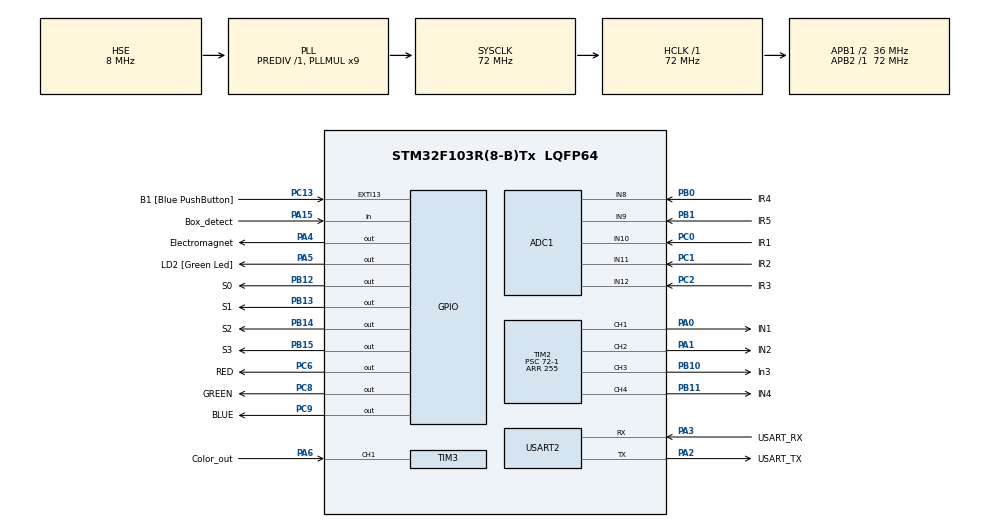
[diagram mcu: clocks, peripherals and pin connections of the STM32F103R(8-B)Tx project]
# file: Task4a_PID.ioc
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ADC1.Channel-0\#ChannelRegularConversion=ADC_CHANNEL_10
ADC1.Channel-1\#ChannelRegularConversion=ADC_CHANNEL_11
ADC1.Channel-2\#ChannelRegularConversion=ADC_CHANNEL_12
ADC1.Channel-3\#ChannelRegularConversion=ADC_CHANNEL_8
ADC1.Channel-4\#ChannelRegularConversion=ADC_CHANNEL_9
ADC1.ContinuousConvMode=ENABLE
ADC1.NbrOfConversion=5
ADC1.NbrOfConversionFlag=1
ADC1.Rank-0\#ChannelRegularConversion=1
ADC1.Rank-1\#ChannelRegularConversion=2
ADC1.Rank-2\#ChannelRegularConversion=3
ADC1.Rank-3\#ChannelRegularConversion=4
ADC1.Rank-4\#ChannelRegularConversion=5
ADC1.SamplingTime-0\#ChannelRegularConversion=ADC_SAMPLETIME_55CYCLES_5
ADC1.SamplingTime-1\#ChannelRegularConversion=ADC_SAMPLETIME_55CYCLES_5
ADC1.SamplingTime-2\#ChannelRegularConversion=ADC_SAMPLETIME_55CYCLES_5
ADC1.SamplingTime-3\#ChannelRegularConversion=ADC_SAMPLETIME_55CYCLES_5
ADC1.SamplingTime-4\#ChannelRegularConversion=ADC_SAMPLETIME_55CYCLES_5
ADC1.master=1
Dma.ADC1.0.Direction=DMA_PERIPH_TO_MEMORY
Dma.ADC1.0.Instance=DMA1_Channel1
Dma.ADC1.0.MemDataAlignment=DMA_MDATAALIGN_HALFWORD
Dma.ADC1.0.MemInc=DMA_MINC_ENABLE
Dma.ADC1.0.Mode=DMA_CIRCULAR
Dma.ADC1.0.PeriphDataAlignment=DMA_PDATAALIGN_HALFWORD
Dma.ADC1.0.PeriphInc=DMA_PINC_DISABLE
Dma.ADC1.0.Priority=DMA_PRIORITY_LOW
Dma.Request0=ADC1
Mcu.Family=STM32F1
Mcu.Name=STM32F103R(8-B)Tx
Mcu.Package=LQFP64
NVIC.ADC1_2_IRQn=true\:0\:0\:false\:false\:true\:true\:true\:true
NVIC.DMA1_Channel1_IRQn=true\:0\:0\:false\:false\:true\:false\:true\:true
NVIC.EXTI15_10_IRQn=true\:0\:0\:false\:false\:true\:true\:true\:true
NVIC.PriorityGroup=NVIC_PRIORITYGROUP_4
NVIC.TIM3_IRQn=true\:0\:0\:false\:false\:true\:true\:true\:true
PA0-WKUP.GPIO_Label=IN1
PA0-WKUP.Signal=S_TIM2_CH1_ETR
PA1.GPIO_Label=IN2
PA1.Signal=S_TIM2_CH2
PA13.GPIO_Label=TMS
PA13.Mode=Serial_Wire
PA13.Signal=SYS_JTMS-SWDIO
PA14.GPIO_Label=TCK
PA14.Mode=Serial_Wire
PA14.Signal=SYS_JTCK-SWCLK
PA15.GPIO_Label=Box_detect
PA15.Signal=GPIO_Input
PA2.GPIO_Label=USART_TX
PA2.GPIO_Mode=GPIO_MODE_AF_PP
PA2.GPIO_PuPd=GPIO_NOPULL
PA2.GPIO_Speed=GPIO_SPEED_FREQ_LOW
PA2.Mode=Asynchronous
PA2.Signal=USART2_TX
PA3.GPIO_Label=USART_RX
PA3.GPIO_Mode=GPIO_MODE_AF_PP
PA3.GPIO_PuPd=GPIO_NOPULL
PA3.GPIO_Speed=GPIO_SPEED_FREQ_LOW
PA3.Mode=Asynchronous
PA3.Signal=USART2_RX
PA4.GPIO_Label=Electromagnet
PA4.Signal=GPIO_Output
PA5.GPIO_Label=LD2 [Green Led]
PA5.GPIO_ModeDefaultOutputPP=GPIO_MODE_OUTPUT_PP
PA5.GPIO_PuPd=GPIO_NOPULL
PA5.GPIO_Speed=GPIO_SPEED_FREQ_LOW
PA5.Signal=GPIO_Output
PA6.GPIO_Label=Color_out
PA6.Signal=S_TIM3_CH1
PB0.GPIO_Label=IR4
PB0.Signal=ADCx_IN8
PB1.GPIO_Label=IR5
PB1.Signal=ADCx_IN9
PB10.GPIO_Label=In3
PB10.Signal=S_TIM2_CH3
PB11.GPIO_Label=IN4
PB11.Signal=S_TIM2_CH4
PB12.GPIO_Label=S0
PB12.Signal=GPIO_Output
PB13.GPIO_Label=S1
PB13.Signal=GPIO_Output
PB14.GPIO_Label=S2
PB14.Signal=GPIO_Output
PB15.GPIO_Label=S3
PB15.Signal=GPIO_Output
PB3.GPIO_Label=SWO
PB3.Signal=SYS_JTDO-TRACESWO
PC0.GPIO_Label=IR1
PC0.Signal=ADCx_IN10
PC1.GPIO_Label=IR2
PC1.Signal=ADCx_IN11
PC13-TAMPER-RTC.GPIO_Label=B1 [Blue PushButton]
PC13-TAMPER-RTC.GPIO_PuPd=GPIO_NOPULL
PC13-TAMPER-RTC.Signal=GPXTI13
PC14-OSC32_IN.Mode=LSE-External-Oscillator
PC14-OSC32_IN.Signal=RCC_OSC32_IN
PC15-OSC32_OUT.Mode=LSE-External-Oscillator
PC15-OSC32_OUT.Signal=RCC_OSC32_OUT
PC2.GPIO_Label=IR3
PC2.Signal=ADCx_IN12
PC6.GPIO_Label=RED
PC6.Signal=GPIO_Output
PC8.GPIO_Label=GREEN
PC8.Signal=GPIO_Output
PC9.GPIO_Label=BLUE
PC9.Signal=GPIO_Output
PD0-OSC_IN.Mode=HSE-External-Clock-Source
PD0-OSC_IN.Signal=RCC_OSC_IN
PD1-OSC_OUT.Mode=HSE-External-Clock-Source
PD1-OSC_OUT.Signal=RCC_OSC_OUT
ProjectManager.HeapSize=0x200
ProjectManager.StackSize=0x400
ProjectManager.TargetToolchain=STM32CubeIDE
RCC.ADCPresc=RCC_ADCPCLK2_DIV6
RCC.AHBFreq_Value=72000000
RCC.APB1CLKDivider=RCC_HCLK_DIV2
RCC.APB1Freq_Value=36000000
RCC.APB1TimFreq_Value=72000000
RCC.APB2Freq_Value=72000000
RCC.APB2TimFreq_Value=72000000
RCC.HCLKFreq_Value=72000000
RCC.PLLMUL=RCC_PLL_MUL9
RCC.PLLSourceVirtual=RCC_PLLSOURCE_HSE
RCC.RTCClockSelection=RCC_RTCCLKSOURCE_LSE
RCC.SYSCLKFreq_VALUE=72000000
RCC.SYSCLKSource=RCC_SYSCLKSOURCE_PLLCLK
RCC.USBFreq_Value=72000000
SH.ADCx_IN10.0=ADC1_IN10,IN10
SH.ADCx_IN11.0=ADC1_IN11,IN11
SH.ADCx_IN12.0=ADC1_IN12,IN12
SH.ADCx_IN8.0=ADC1_IN8,IN8
SH.ADCx_IN9.0=ADC1_IN9,IN9
SH.S_TIM2_CH1_ETR.0=TIM2_CH1,PWM Generation1 CH1
SH.S_TIM2_CH2.0=TIM2_CH2,PWM Generation2 CH2
SH.S_TIM2_CH3.0=TIM2_CH3,PWM Generation3 CH3
SH.S_TIM2_CH4.0=TIM2_CH4,PWM Generation4 CH4
SH.S_TIM3_CH1.0=TIM3_CH1,Input_Capture1_from_TI1
TIM2.Channel-PWM\ Generation1\ CH1=TIM_CHANNEL_1
TIM2.Channel-PWM\ Generation2\ CH2=TIM_CHANNEL_2
TIM2.Channel-PWM\ Generation3\ CH3=TIM_CHANNEL_3
TIM2.Channel-PWM\ Generation4\ CH4=TIM_CHANNEL_4
TIM2.Period=255
TIM2.Prescaler=72-1
TIM3.Channel-Input_Capture1_from_TI1=TIM_CHANNEL_1
USART2.VirtualMode=VM_ASYNC
board=NUCLEO-F103RB

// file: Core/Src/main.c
/* USER CODE BEGIN Header */
/**
  ******************************************************************************
  * @file           : main.c
  * @brief          : Main program body
  ******************************************************************************
  * @attention
  *
  * Copyright (c) 2025 STMicroelectronics.
  * All rights reserved.
  *
  * This software is licensed under terms that can be found in the LICENSE file
  * in the root directory of this software component.
  * If no LICENSE file comes with this software, it is provided AS-IS.
  *
  ******************************************************************************
  */
/* USER CODE END Header */
#include "main.h"

/* USER CODE BEGIN Includes */
#include "stdio.h"
#include "stdlib.h"
#include "math.h"
#include "stdbool.h"
#include "stdint.h"

/* USER CODE END Includes */

/* USER CODE BEGIN PD */
#define NUM_SENSORS        5
#define BASE_SPEED         60
#define TURN_SPEED         BASE_SPEED * 2.2
#define GAP_SPEED          60
#define MAX_PWM            150
#define MIN_ACTIVE_PWM     10
#define LEFT_TRIM   	   0.92f
#define RIGHT_TRIM 		   1.00f

#define MAX_CORRECTION     30.0f
#define CORNER_TH          0.7f
#define TURN_TIME_MS       140

#define LINE_LOST_ENTER    0.45f
#define LINE_LOST_EXIT     0.65f
#define PIVOT_POS_TH       0.65f

// color detect
#define LED_R_PORT GPIOC
#define LED_R_PIN  GPIO_PIN_6

#define LED_G_PORT GPIOC
#define LED_G_PIN  GPIO_PIN_8

#define LED_B_PORT GPIOC
#define LED_B_PIN  GPIO_PIN_9

// obstacle detection
#define IR_OUT_PORT GPIOA
#define IR_OUT_PIN  GPIO_PIN_15

// magnet
#define EM_PORT GPIOA
#define EM_PIN  GPIO_PIN_4

/* USER CODE END PD */

ADC_HandleTypeDef hadc1;
DMA_HandleTypeDef hdma_adc1;

TIM_HandleTypeDef htim2;
TIM_HandleTypeDef htim3;

UART_HandleTypeDef huart2;

/* USER CODE BEGIN PV */

/* helper function required */

typedef struct {
	float kp;
	float ki;
	float kd;
	float prev_error;
	float integral;
} PID_t;

typedef enum {
    MODE_TRACK,
    MODE_PIVOT,
    MODE_GAP,
	PICK_BOX,
	NODE_MODE
} ControlMode;

//static int slow_hold = 0;
volatile uint16_t adcBuffer[5];
char buffer[64];

float black[5];
float white[5];

// color detection
volatile uint32_t capture1 = 0, capture2 = 0;
volatile uint8_t  captureDone = 0;
volatile uint32_t frequency = 0;

typedef enum {
    COLOR_UNKNOWN,
    COLOR_RED,
    COLOR_GREEN,
    COLOR_BLUE
} DetectedColor;

static uint32_t led_last_tick = 0;
static uint8_t  led_on = 0;
static DetectedColor led_color = COLOR_UNKNOWN;

//static float prev_pos = 0.0f;
float speed_scale = 1.0f;
static float last_pos = 0.0f;
static bool in_gap = false;
static bool box_picked = false;

/* USER CODE END PV */

void SystemClock_Config(void);
static void MX_GPIO_Init(void);
static void MX_DMA_Init(void);
static void MX_USART2_UART_Init(void);
static void MX_ADC1_Init(void);
static void MX_TIM2_Init(void);
static void MX_TIM3_Init(void);

/* USER CODE BEGIN PFP */

// hardware control functions
void custom_control(int left,int right);

// helper functions
int clamp(int val,int min,int max);
float clampFloat(float v, float min, float max);
void pidInit(PID_t *pid,float kp,float ki,float kd);
void ir_state(const uint16_t *adc, uint8_t *state);
void readIR(uint16_t *dst);
void computeReflectance(uint16_t* adcBuffer, float *ir_reflectance);
float position_reflectance(const float *ir);
float position_states(uint8_t *state);
float pid_compute(PID_t *pid, float error, float dt);
void set_threshold(uint16_t* adcBuffer);
void calibrate_sensor(uint32_t duration_ms);

float compute_line_conf(float *r);
void control_track(float steer, float speed,float left_scale, float right_scale,int *left, int *right);
void control_pivot(float pos, int *left, int *right);
void control_gap(float last_pos, int *left, int *right);

// colord erection
DetectedColor TCS3200_DetectColor(void);
void LED_BlinkColor(DetectedColor color, uint32_t period_ms);
uint32_t Read_Color_Frequency(uint8_t s2, uint8_t s3);
uint8_t IR_ObjectDetected(void);

/* USER CODE END PFP */

/* USER CODE BEGIN 0 */
static inline void Electromagnet_ON(void)
{
    HAL_GPIO_WritePin(EM_PORT, EM_PIN, GPIO_PIN_SET);
}

static inline void Electromagnet_OFF(void)
{
    HAL_GPIO_WritePin(EM_PORT, EM_PIN, GPIO_PIN_RESET);
}

static inline void LED_AllOff(void)
{
    HAL_GPIO_WritePin(LED_R_PORT, LED_R_PIN, GPIO_PIN_SET);
    HAL_GPIO_WritePin(LED_G_PORT, LED_G_PIN, GPIO_PIN_SET);
    HAL_GPIO_WritePin(LED_B_PORT, LED_B_PIN, GPIO_PIN_SET);
}

static inline void LED_SetColor(DetectedColor color)
{
    LED_AllOff();  // important

    switch (color)
    {
    case COLOR_RED:
        HAL_GPIO_WritePin(LED_R_PORT, LED_R_PIN, GPIO_PIN_RESET);
        break;

    case COLOR_GREEN:
        HAL_GPIO_WritePin(LED_G_PORT, LED_G_PIN, GPIO_PIN_RESET);
        break;

    case COLOR_BLUE:
        HAL_GPIO_WritePin(LED_B_PORT, LED_B_PIN, GPIO_PIN_RESET);
        break;

    default:
        // unknown → all off
        break;
    }
}

/* USER CODE END 0 */

int main(void)
{

  /* MCU Configuration--------------------------------------------------------*/

  /* Reset of all peripherals, Initializes the Flash interface and the Systick. */
  HAL_Init();

  /* Configure the system clock */
  SystemClock_Config();

  /* Initialize all configured peripherals */
  MX_GPIO_Init();
  MX_DMA_Init();
  MX_USART2_UART_Init();
  MX_ADC1_Init();
  MX_TIM2_Init();
  MX_TIM3_Init();

  /* USER CODE BEGIN 2 */
  HAL_ADC_Start_DMA(&hadc1,(uint32_t*)adcBuffer,5);
  HAL_Delay(200);

  calibrate_sensor(5000);

  // motor control pin configuration
  HAL_TIM_PWM_Start(&htim2, TIM_CHANNEL_1);
  HAL_TIM_PWM_Start(&htim2, TIM_CHANNEL_2);
  HAL_TIM_PWM_Start(&htim2, TIM_CHANNEL_3);
  HAL_TIM_PWM_Start(&htim2, TIM_CHANNEL_4);

  // color freq
  HAL_GPIO_WritePin(GPIOB, GPIO_PIN_12, GPIO_PIN_SET);
  HAL_GPIO_WritePin(GPIOB, GPIO_PIN_13, GPIO_PIN_SET);
  HAL_TIM_IC_Start_IT(&htim3, TIM_CHANNEL_1);

  PID_t linePID;
  pidInit(&linePID, 15.0f, 0.0f, 0.0f);

  uint32_t lastTick = HAL_GetTick();

  /* USER CODE END 2 */

  /* Infinite loop */
  /* USER CODE BEGIN WHILE */
  while (1)
  {
	  // -------------------- Time --------------------
	  uint32_t now = HAL_GetTick();
	  float dt = (now - lastTick) / 1000.0f;
	  lastTick = now;

	  if (dt <= 0.0f || dt > 0.1f)
	      dt = 0.01f;

	  // -------------------- Sensors --------------------
	  uint16_t ir[NUM_SENSORS];
	  float reflectance[NUM_SENSORS];
	  readIR(ir);
	  computeReflectance(ir, reflectance);
	  // -------------------- Position --------------------
	  float pos = position_reflectance(reflectance);   // pos < 0 : left, pos > 0 : right

	  // color detection
	  DetectedColor color = TCS3200_DetectColor();
	  bool box = IR_ObjectDetected();

	  if(color != COLOR_UNKNOWN && !box_picked) {
		  LED_SetColor(color);
	  }
	  else {
		  LED_SetColor(COLOR_UNKNOWN);
	  }

	  bool stop_condition = reflectance[0] == 1.0 && reflectance[4] == 1.0 && reflectance[3] != 1.0;

	  float line_conf = compute_line_conf(reflectance);

	  if (line_conf > LINE_LOST_EXIT)
		  last_pos = pos;

	  if (!in_gap && line_conf < LINE_LOST_ENTER)
		  in_gap = true;
	  else if (in_gap && line_conf > LINE_LOST_EXIT)
		  in_gap = false;

	  // ---------- PID ----------
	  float error = -pos;
	  float steer = pid_compute(&linePID, error, dt);
	  steer = clampFloat(steer, -MAX_CORRECTION, MAX_CORRECTION);

	  // ---------- Corner detection ----------
	  static bool iscorner = false;
	  static uint32_t corner_time = 0;
	  static uint8_t corner_cnt = 0;

	  bool left_edge  = reflectance[0] > CORNER_TH;
	  bool right_edge = reflectance[4] > CORNER_TH;

	  if (!iscorner) {
		  if (left_edge || right_edge) {
			  corner_cnt++;
			  if (corner_cnt >= 2) {
				  iscorner = true;
				  corner_time = HAL_GetTick();
			  }
		  } else {
			  corner_cnt = 0;
		  }
	  }

	  if (iscorner && (HAL_GetTick() - corner_time > TURN_TIME_MS)) {
		  iscorner = false;
		  corner_cnt = 0;
	  }

	  ControlMode mode ;
	  if(stop_condition) {
		  mode = NODE_MODE;
	  }
	  else if(box && color != COLOR_UNKNOWN && !box_picked) {
		  mode = PICK_BOX;
	  }
	  else
	  if (iscorner && fabs(pos) > PIVOT_POS_TH) {
		  mode = MODE_PIVOT;
	  }
	  else if (in_gap && !iscorner && fabs(pos) < 0.4f) {
		  mode = MODE_GAP;
	  }
	  else {
		  mode = MODE_TRACK;
	  }

//	   debug
//	  int len = 0;
//	  for(int i=0; i<5; i++) {
//		  len += snprintf(buffer+len,sizeof(buffer)-len,"ir%d: %.2f",i+1,reflectance[i]);
//	  }
//
//	  buffer[len++] = '\r';
//	  buffer[len++] = '\n';
//
//	  HAL_UART_Transmit(&huart2,(uint8_t*) buffer, len, HAL_MAX_DELAY);
//	  HAL_Delay(500);

	  // ---------- Speed & scaling ----------
	  float speed = BASE_SPEED;
	  float left_scale = 1.0f;
	  float right_scale = 1.0f;

	  if (iscorner && mode == MODE_TRACK) {
		  steer = clampFloat(steer, -5.0f, 5.0f);
		  speed = TURN_SPEED;

		  if (pos < 0) {
			  left_scale  = 0.1f;
			  right_scale = 1.5f;
		  } else {
			  left_scale  = 1.5f;
			  right_scale = 0.1f;
		  }

		  if (steer < 0)
			  steer *= 1.3f;   // right-turn boost only
	  }

	  // ---------- Actuation ----------
	  int left = 0, right = 0;

	  switch (mode) {
	  case PICK_BOX:
		  custom_control(40,40);
		  box_picked = true;
		  HAL_Delay(300);
		  Electromagnet_ON();
		  break;
	  case NODE_MODE:
		  custom_control(-100,100);
//		  LED_BlinkColor(color, 300);
//		  Electromagnet_OFF();
		  HAL_Delay(1100);
//		  box_picked = false;
		  break;
	  case MODE_PIVOT:
		  control_pivot(pos, &left, &right);
		  break;

	  case MODE_GAP:
		  control_gap(last_pos, &left, &right);
		  break;

	  case MODE_TRACK:
	  default:
		  control_track(steer, speed, left_scale, right_scale, &left, &right);
		  break;
	  }

	  left = (int)(left*LEFT_TRIM);
	  right = (int)(right*RIGHT_TRIM);
	  custom_control(left, right);

	  // motor check
//	  custom_control(0,100);

//	  // color detection
//
//	  DetectedColor color = TCS3200_DetectColor();
//	  LED_SetColor(color);
//
//
//	  // object detection
//	  uint8_t box = IR_ObjectDetected();
//
//	  // magner pickup
//	  if(box) {
//		  Electromagnet_ON();
//	  }
//	  else {
//		  Electromagnet_OFF();
//	  }

  }
  /* USER CODE END 3 */
}

void SystemClock_Config(void)
{
  RCC_OscInitTypeDef RCC_OscInitStruct = {0};
  RCC_ClkInitTypeDef RCC_ClkInitStruct = {0};
  RCC_PeriphCLKInitTypeDef PeriphClkInit = {0};

  /** Initializes the RCC Oscillators according to the specified parameters
  * in the RCC_OscInitTypeDef structure.
  */
  RCC_OscInitStruct.OscillatorType = RCC_OSCILLATORTYPE_HSE;
  RCC_OscInitStruct.HSEState = RCC_HSE_BYPASS;
  RCC_OscInitStruct.HSEPredivValue = RCC_HSE_PREDIV_DIV1;
  RCC_OscInitStruct.HSIState = RCC_HSI_ON;
  RCC_OscInitStruct.PLL.PLLState = RCC_PLL_ON;
  RCC_OscInitStruct.PLL.PLLSource = RCC_PLLSOURCE_HSE;
  RCC_OscInitStruct.PLL.PLLMUL = RCC_PLL_MUL9;
  if (HAL_RCC_OscConfig(&RCC_OscInitStruct) != HAL_OK)
  {
    Error_Handler();
  }

  /** Initializes the CPU, AHB and APB buses clocks
  */
  RCC_ClkInitStruct.ClockType = RCC_CLOCKTYPE_HCLK|RCC_CLOCKTYPE_SYSCLK
                              |RCC_CLOCKTYPE_PCLK1|RCC_CLOCKTYPE_PCLK2;
  RCC_ClkInitStruct.SYSCLKSource = RCC_SYSCLKSOURCE_PLLCLK;
  RCC_ClkInitStruct.AHBCLKDivider = RCC_SYSCLK_DIV1;
  RCC_ClkInitStruct.APB1CLKDivider = RCC_HCLK_DIV2;
  RCC_ClkInitStruct.APB2CLKDivider = RCC_HCLK_DIV1;

  if (HAL_RCC_ClockConfig(&RCC_ClkInitStruct, FLASH_LATENCY_2) != HAL_OK)
  {
    Error_Handler();
  }
  PeriphClkInit.PeriphClockSelection = RCC_PERIPHCLK_ADC;
  PeriphClkInit.AdcClockSelection = RCC_ADCPCLK2_DIV6;
  if (HAL_RCCEx_PeriphCLKConfig(&PeriphClkInit) != HAL_OK)
  {
    Error_Handler();
  }
}

static void MX_ADC1_Init(void)
{

  ADC_ChannelConfTypeDef sConfig = {0};

  /** Common config
  */
  hadc1.Instance = ADC1;
  hadc1.Init.ScanConvMode = ADC_SCAN_ENABLE;
  hadc1.Init.ContinuousConvMode = ENABLE;
  hadc1.Init.DiscontinuousConvMode = DISABLE;
  hadc1.Init.ExternalTrigConv = ADC_SOFTWARE_START;
  hadc1.Init.DataAlign = ADC_DATAALIGN_RIGHT;
  hadc1.Init.NbrOfConversion = 5;
  if (HAL_ADC_Init(&hadc1) != HAL_OK)
  {
    Error_Handler();
  }

  /** Configure Regular Channel
  */
  sConfig.Channel = ADC_CHANNEL_10;
  sConfig.Rank = ADC_REGULAR_RANK_1;
  sConfig.SamplingTime = ADC_SAMPLETIME_55CYCLES_5;
  if (HAL_ADC_ConfigChannel(&hadc1, &sConfig) != HAL_OK)
  {
    Error_Handler();
  }

  /** Configure Regular Channel
  */
  sConfig.Channel = ADC_CHANNEL_11;
  sConfig.Rank = ADC_REGULAR_RANK_2;
  if (HAL_ADC_ConfigChannel(&hadc1, &sConfig) != HAL_OK)
  {
    Error_Handler();
  }

  /** Configure Regular Channel
  */
  sConfig.Channel = ADC_CHANNEL_12;
  sConfig.Rank = ADC_REGULAR_RANK_3;
  if (HAL_ADC_ConfigChannel(&hadc1, &sConfig) != HAL_OK)
  {
    Error_Handler();
  }

  /** Configure Regular Channel
  */
  sConfig.Channel = ADC_CHANNEL_8;
  sConfig.Rank = ADC_REGULAR_RANK_4;
  if (HAL_ADC_ConfigChannel(&hadc1, &sConfig) != HAL_OK)
  {
    Error_Handler();
  }

  /** Configure Regular Channel
  */
  sConfig.Channel = ADC_CHANNEL_9;
  sConfig.Rank = ADC_REGULAR_RANK_5;
  if (HAL_ADC_ConfigChannel(&hadc1, &sConfig) != HAL_OK)
  {
    Error_Handler();
  }

}

static void MX_TIM2_Init(void)
{

  TIM_MasterConfigTypeDef sMasterConfig = {0};
  TIM_OC_InitTypeDef sConfigOC = {0};

  htim2.Instance = TIM2;
  htim2.Init.Prescaler = 72-1;
  htim2.Init.CounterMode = TIM_COUNTERMODE_UP;
  htim2.Init.Period = 255;
  htim2.Init.ClockDivision = TIM_CLOCKDIVISION_DIV1;
  htim2.Init.AutoReloadPreload = TIM_AUTORELOAD_PRELOAD_DISABLE;
  if (HAL_TIM_PWM_Init(&htim2) != HAL_OK)
  {
    Error_Handler();
  }
  sMasterConfig.MasterOutputTrigger = TIM_TRGO_RESET;
  sMasterConfig.MasterSlaveMode = TIM_MASTERSLAVEMODE_DISABLE;
  if (HAL_TIMEx_MasterConfigSynchronization(&htim2, &sMasterConfig) != HAL_OK)
  {
    Error_Handler();
  }
  sConfigOC.OCMode = TIM_OCMODE_PWM1;
  sConfigOC.Pulse = 0;
  sConfigOC.OCPolarity = TIM_OCPOLARITY_HIGH;
  sConfigOC.OCFastMode = TIM_OCFAST_DISABLE;
  if (HAL_TIM_PWM_ConfigChannel(&htim2, &sConfigOC, TIM_CHANNEL_1) != HAL_OK)
  {
    Error_Handler();
  }
  if (HAL_TIM_PWM_ConfigChannel(&htim2, &sConfigOC, TIM_CHANNEL_2) != HAL_OK)
  {
    Error_Handler();
  }
  if (HAL_TIM_PWM_ConfigChannel(&htim2, &sConfigOC, TIM_CHANNEL_3) != HAL_OK)
  {
    Error_Handler();
  }
  if (HAL_TIM_PWM_ConfigChannel(&htim2, &sConfigOC, TIM_CHANNEL_4) != HAL_OK)
  {
    Error_Handler();
  }
  HAL_TIM_MspPostInit(&htim2);

}

static void MX_TIM3_Init(void)
{

  TIM_MasterConfigTypeDef sMasterConfig = {0};
  TIM_IC_InitTypeDef sConfigIC = {0};

  htim3.Instance = TIM3;
  htim3.Init.Prescaler = 0;
  htim3.Init.CounterMode = TIM_COUNTERMODE_UP;
  htim3.Init.Period = 65535;
  htim3.Init.ClockDivision = TIM_CLOCKDIVISION_DIV1;
  htim3.Init.AutoReloadPreload = TIM_AUTORELOAD_PRELOAD_DISABLE;
  if (HAL_TIM_IC_Init(&htim3) != HAL_OK)
  {
    Error_Handler();
  }
  sMasterConfig.MasterOutputTrigger = TIM_TRGO_RESET;
  sMasterConfig.MasterSlaveMode = TIM_MASTERSLAVEMODE_DISABLE;
  if (HAL_TIMEx_MasterConfigSynchronization(&htim3, &sMasterConfig) != HAL_OK)
  {
    Error_Handler();
  }
  sConfigIC.ICPolarity = TIM_INPUTCHANNELPOLARITY_RISING;
  sConfigIC.ICSelection = TIM_ICSELECTION_DIRECTTI;
  sConfigIC.ICPrescaler = TIM_ICPSC_DIV1;
  sConfigIC.ICFilter = 0;
  if (HAL_TIM_IC_ConfigChannel(&htim3, &sConfigIC, TIM_CHANNEL_1) != HAL_OK)
  {
    Error_Handler();
  }

}

static void MX_USART2_UART_Init(void)
{

  huart2.Instance = USART2;
  huart2.Init.BaudRate = 115200;
  huart2.Init.WordLength = UART_WORDLENGTH_8B;
  huart2.Init.StopBits = UART_STOPBITS_1;
  huart2.Init.Parity = UART_PARITY_NONE;
  huart2.Init.Mode = UART_MODE_TX_RX;
  huart2.Init.HwFlowCtl = UART_HWCONTROL_NONE;
  huart2.Init.OverSampling = UART_OVERSAMPLING_16;
  if (HAL_UART_Init(&huart2) != HAL_OK)
  {
    Error_Handler();
  }

}

static void MX_DMA_Init(void)
{

  /* DMA controller clock enable */
  __HAL_RCC_DMA1_CLK_ENABLE();

  /* DMA interrupt init */
  /* DMA1_Channel1_IRQn interrupt configuration */
  HAL_NVIC_SetPriority(DMA1_Channel1_IRQn, 0, 0);
  HAL_NVIC_EnableIRQ(DMA1_Channel1_IRQn);

}

static void MX_GPIO_Init(void)
{
  GPIO_InitTypeDef GPIO_InitStruct = {0};

  /* GPIO Ports Clock Enable */
  __HAL_RCC_GPIOC_CLK_ENABLE();
  __HAL_RCC_GPIOD_CLK_ENABLE();
  __HAL_RCC_GPIOA_CLK_ENABLE();
  __HAL_RCC_GPIOB_CLK_ENABLE();

  /*Configure GPIO pin Output Level */
  HAL_GPIO_WritePin(GPIOA, Electromagnet_Pin|LD2_Pin, GPIO_PIN_RESET);

  /*Configure GPIO pin Output Level */
  HAL_GPIO_WritePin(GPIOB, S0_Pin|S1_Pin|S2_Pin|S3_Pin, GPIO_PIN_RESET);

  /*Configure GPIO pin Output Level */
  HAL_GPIO_WritePin(GPIOC, RED_Pin|GREEN_Pin|BLUE_Pin, GPIO_PIN_RESET);

  /*Configure GPIO pin : B1_Pin */
  GPIO_InitStruct.Pin = B1_Pin;
  GPIO_InitStruct.Mode = GPIO_MODE_IT_RISING;
  GPIO_InitStruct.Pull = GPIO_NOPULL;
  HAL_GPIO_Init(B1_GPIO_Port, &GPIO_InitStruct);

  /*Configure GPIO pins : Electromagnet_Pin LD2_Pin */
  GPIO_InitStruct.Pin = Electromagnet_Pin|LD2_Pin;
  GPIO_InitStruct.Mode = GPIO_MODE_OUTPUT_PP;
  GPIO_InitStruct.Pull = GPIO_NOPULL;
  GPIO_InitStruct.Speed = GPIO_SPEED_FREQ_LOW;
  HAL_GPIO_Init(GPIOA, &GPIO_InitStruct);

  /*Configure GPIO pins : S0_Pin S1_Pin S2_Pin S3_Pin */
  GPIO_InitStruct.Pin = S0_Pin|S1_Pin|S2_Pin|S3_Pin;
  GPIO_InitStruct.Mode = GPIO_MODE_OUTPUT_PP;
  GPIO_InitStruct.Pull = GPIO_NOPULL;
  GPIO_InitStruct.Speed = GPIO_SPEED_FREQ_LOW;
  HAL_GPIO_Init(GPIOB, &GPIO_InitStruct);

  /*Configure GPIO pins : RED_Pin GREEN_Pin BLUE_Pin */
  GPIO_InitStruct.Pin = RED_Pin|GREEN_Pin|BLUE_Pin;
  GPIO_InitStruct.Mode = GPIO_MODE_OUTPUT_PP;
  GPIO_InitStruct.Pull = GPIO_NOPULL;
  GPIO_InitStruct.Speed = GPIO_SPEED_FREQ_LOW;
  HAL_GPIO_Init(GPIOC, &GPIO_InitStruct);

  /*Configure GPIO pin : Box_detect_Pin */
  GPIO_InitStruct.Pin = Box_detect_Pin;
  GPIO_InitStruct.Mode = GPIO_MODE_INPUT;
  GPIO_InitStruct.Pull = GPIO_NOPULL;
  HAL_GPIO_Init(Box_detect_GPIO_Port, &GPIO_InitStruct);

  /* EXTI interrupt init*/
  HAL_NVIC_SetPriority(EXTI15_10_IRQn, 0, 0);
  HAL_NVIC_EnableIRQ(EXTI15_10_IRQn);

}

/* USER CODE BEGIN 4 */

//void custom_control(int left, int right) {
//	__HAL_TIM_SET_COMPARE(&htim2,TIM_CHANNEL_1,right);
//	__HAL_TIM_SET_COMPARE(&htim2,TIM_CHANNEL_2,0);
//	__HAL_TIM_SET_COMPARE(&htim2,TIM_CHANNEL_3,0);
//	__HAL_TIM_SET_COMPARE(&htim2,TIM_CHANNEL_4,left);
//}

void custom_control(int left, int right)
{
    // clamp
    if (left > MAX_PWM)  left = MAX_PWM;
    if (left < -MAX_PWM) left = -MAX_PWM;
    if (right > MAX_PWM)  right = MAX_PWM;
    if (right < -MAX_PWM) right = -MAX_PWM;

    // -------- LEFT MOTOR --------
    if (left >= 0) {
        __HAL_TIM_SET_COMPARE(&htim2, TIM_CHANNEL_1, left);   // forward
        __HAL_TIM_SET_COMPARE(&htim2, TIM_CHANNEL_2, 0);      // reverse off
    } else {
        __HAL_TIM_SET_COMPARE(&htim2, TIM_CHANNEL_1, 0);      // forward off
        __HAL_TIM_SET_COMPARE(&htim2, TIM_CHANNEL_2, -left);  // reverse
    }

    // -------- RIGHT MOTOR --------
    if (right >= 0) {
        __HAL_TIM_SET_COMPARE(&htim2, TIM_CHANNEL_3, right);  // forward
        __HAL_TIM_SET_COMPARE(&htim2, TIM_CHANNEL_4, 0);      // reverse off
    } else {
        __HAL_TIM_SET_COMPARE(&htim2, TIM_CHANNEL_3, 0);      // forward off
        __HAL_TIM_SET_COMPARE(&htim2, TIM_CHANNEL_4, -right); // reverse
    }
}

// helper function implementation

//void set_threshold(uint16_t* adcBuffer) {
//	for(int i=0; i<5; i++) {
//		if(adcBuffer[i] < )
//	}
//}
void pidInit(PID_t *pid,float kp,float ki,float kd) {
	pid->kp = kp;
	pid->kd = kd;
	pid->ki = ki;
	pid->integral = 0.0f;
	pid->prev_error = 0.0f;
}

int clamp(int v, int min, int max)
{
    if (v < min) return min;
    if (v > max) return max;
    return v;
}

float clampFloat(float v, float min, float max)
{
    if (v < min) return min;
    if (v > max) return max;
    return v;
}

void readIR(uint16_t *dst)
{
    for (int i = 0; i < NUM_SENSORS; i++)
        dst[i] = adcBuffer[i];
}

//void ir_state(const uint16_t *adc, uint8_t *state)
//{
//    for (int i = 0; i < NUM_SENSORS; i++) {
//        if (adc[i] > WHITE_TH + MARGIN)
//            state[i] = 2; // WHITE
//        else if (adc[i] < BLACK_TH - MARGIN)
//            state[i] = 0; // BLACK
//        else
//            state[i] = 1; // EDGE
//    }
//}

void calibrate_sensor(uint32_t duration_ms)
{
    for (int i = 0; i < 5; i++) {
        black[i] = 4095.0f;
        white[i] = 0.0f;
    }

    uint32_t start = HAL_GetTick();

    while (HAL_GetTick() - start < duration_ms)
    {
        for (int i = 0; i < 5; i++)
        {
            uint16_t v = adcBuffer[i];

            if (v < black[i]) black[i] = v;
            if (v > white[i]) white[i] = v;
        }

        HAL_Delay(2);
    }

    // Safety margin to avoid divide_zero and noise
    for (int i = 0; i < 5; i++) {
        if (white[i] - black[i] < 200) {
            white[i] = black[i] + 200;
        }
    }
}

//void adaptiveCalibration(const uint16_t *adc)
//{
//    for (int i = 0; i < NUM_SENSORS; i++)
//    {
//        if (adc[i] > white[i]) {
//            white[i] = white[i] * (1.0f - CAL_ALPHA)
//                     + adc[i]   * CAL_ALPHA;
//        }
//
//        if (adc[i] < black[i]) {
//            black[i] = black[i] * (1.0f - CAL_ALPHA)
//                     + adc[i]   * CAL_ALPHA;
//        }
//
//        if (white[i] - black[i] < MIN_RANGE) {
//            white[i] = black[i] + MIN_RANGE;
//        }
//    }
//}

void computeReflectance(uint16_t* adcBuffer, float *ir_reflectance)
{
    for (int i = 0; i < 5; i++)
    {
        float denom = white[i] - black[i];
        if (denom < 1.0f)
            denom = 1.0f;

        float r = ((float)adcBuffer[i] - black[i]) / denom;

        if (r < 0.0f) r = 0.0f;
        if (r > 1.0f) r = 1.0f;

        ir_reflectance[i] = r;
    }
}

float position_reflectance(const float *ir)
{
    static float last_pos = 0.0f;
    const float w[5] = { -2, -1, 0, 1, 2 };

    float sum = 0.0f;
    float weighted = 0.0f;

    for (int i = 0; i < 5; i++) {
        float r = clampFloat(ir[i], 0.0f, 1.0f);
        sum += r;
        weighted += r * w[i];
    }

    if (sum < 0.5f) {
        return last_pos;   // HOLD
    }

    float pos = weighted / (sum + 0.3f);  // soft floor
    pos = clampFloat(pos, -2.0f, 2.0f);

    last_pos = pos;
    return pos;
}

float position_states(uint8_t *state)
{
	const int weight[5] = { -2, -1, 0, 1, 2 };
	float sum = 0.0f;
	float count = 0.0f;

	for (int i = 0; i < NUM_SENSORS; i++) {
		if (state[i] == 2) {
			sum += weight[i];
			count++;
		}
	}

	if (count == 0)
		return 0.0f;

	return sum / count;
}

bool cornerDetection(int *ir) {
	if((ir[0] == 0 && ir[1] == 0) || (ir[3] == 0 && ir[4] == 0)) {
		if((ir[3] == 100 && ir[4] == 100) || (ir[0] == 100 && ir[1] == 100)) {
			return true;
		}
	}
	return false;
}

float pid_compute(PID_t *pid, float error, float dt)
{
    pid->integral += error * dt;
    pid->integral = clampFloat(pid->integral, -10.0f, 10.0f);

    float derivative = (error - pid->prev_error) / dt;
    pid->prev_error = error;

    return pid->kp * error +
           pid->ki * pid->integral +
           pid->kd * derivative;
}

float compute_line_conf(float *r)
{
    float s = 0.0f;
    for (int i = 0; i < NUM_SENSORS; i++) s += r[i];
    return s;
}

void control_track(float steer, float speed,float left_scale, float right_scale,int *left, int *right)
{
    if (steer > 0) {
        *left  = speed * left_scale;
        *right = speed * right_scale + steer;
    } else {
        *left  = speed * left_scale - steer;
        *right = 0;
    }

    *left  = clamp(*left,  MIN_ACTIVE_PWM, MAX_PWM);
    *right = clamp(*right, MIN_ACTIVE_PWM, MAX_PWM);
}

void control_pivot(float pos, int *left, int *right)
{
    if (pos > 0) {
        *left  = TURN_SPEED;
        *right = 0;
    } else {
        *left  = 0;
        *right = TURN_SPEED;
    }
}

void control_gap(float last_pos, int *left, int *right)
{
    if (last_pos > 0) {
        *left  = GAP_SPEED;
        *right = GAP_SPEED * 0.6f;
    } else {
        *left  = GAP_SPEED * 0.6f;
        *right = GAP_SPEED;
    }
}

// color detection]

DetectedColor TCS3200_DetectColor(void)
{
    uint32_t red, green, blue;
    float r, g, b, sum;

    red   = Read_Color_Frequency(GPIO_PIN_RESET, GPIO_PIN_RESET); // RED
    green = Read_Color_Frequency(GPIO_PIN_SET,   GPIO_PIN_SET);   // GREEN
    blue  = Read_Color_Frequency(GPIO_PIN_RESET, GPIO_PIN_SET);   // BLUE

    if (red == 0 || green == 0 || blue == 0)
        return COLOR_UNKNOWN;

    sum = red + green + blue;
    r = red   / sum;
    g = green / sum;
    b = blue  / sum;

    if (r > 0.45f && r > g && r > b)
        return COLOR_RED;

    // BLUE: strong, absolute threshold OK
    if (b > 0.40f && b > r && b > g)
        return COLOR_BLUE;

    // GREEN: weak channel → relative dominance only
    if (g > r * 1.08f && g > b * 1.08f)
        return COLOR_GREEN;

    return COLOR_UNKNOWN;
}

void LED_BlinkColor(DetectedColor color, uint32_t period_ms)
{
    uint32_t now = HAL_GetTick();

    // Color changed → reset blink state
    if (color != led_color) {
        led_color = color;
        led_on = 0;
        LED_AllOff();
        led_last_tick = now;
    }

    if (color == COLOR_UNKNOWN)
        return;

    if (now - led_last_tick >= period_ms) {
        led_last_tick = now;
        led_on ^= 1;

        if (led_on)
            LED_SetColor(color);
        else
            LED_AllOff();
    }
}

uint32_t Read_Color_Frequency(uint8_t s2, uint8_t s3)
{
    HAL_GPIO_WritePin(GPIOB, GPIO_PIN_14, s2);
    HAL_GPIO_WritePin(GPIOB, GPIO_PIN_15, s3);

    captureDone = 0;
    while (captureDone < 2);

    return frequency;
}

uint8_t IR_ObjectDetected(void)
{
    // ACTIVE LOW sensor
    if (HAL_GPIO_ReadPin(IR_OUT_PORT, IR_OUT_PIN) == GPIO_PIN_RESET)
        return 1;   // object detected
    else
        return 0;   // no object
}

/* USER CODE END 4 */

void Error_Handler(void)
{
  __disable_irq();
  while (1)
  {
  }
}
